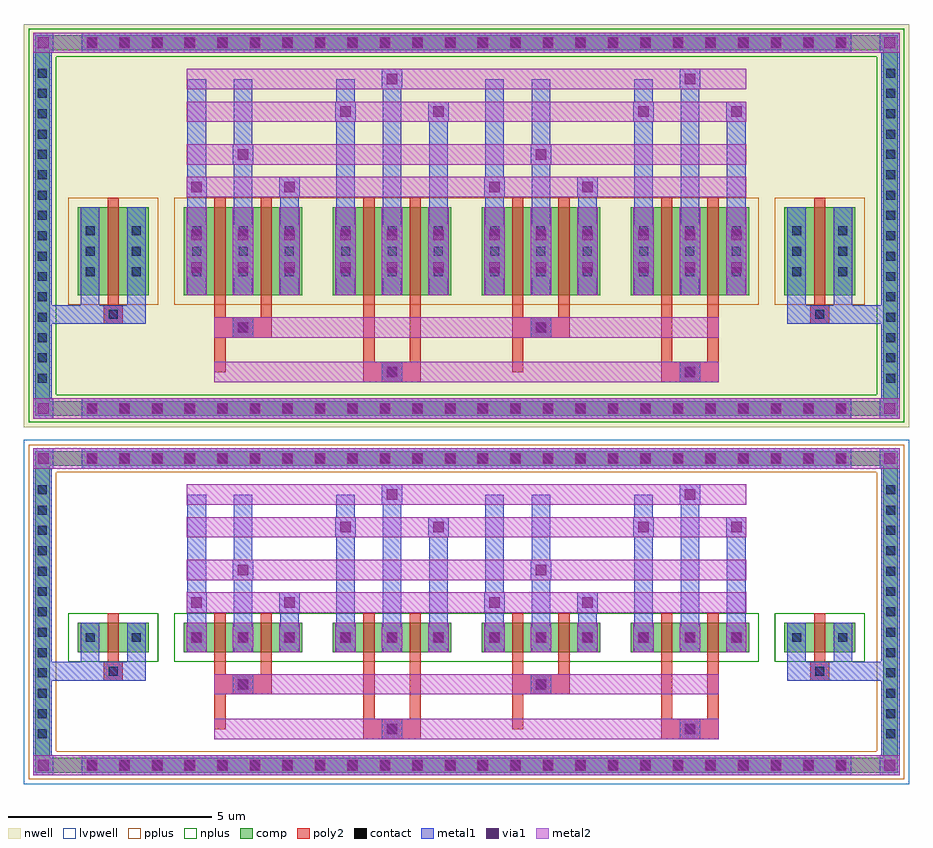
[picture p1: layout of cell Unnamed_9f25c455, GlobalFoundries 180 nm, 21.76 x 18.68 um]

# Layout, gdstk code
import gdstk
lib = gdstk.Library(unit=1e-6, precision=5e-09)
def R(c, l, rs):  # rectangles x0, y0, x1, y1
    for r in rs: c.add(gdstk.rectangle(r[:2], r[2:], *l))
def A(c, l, x, y, w, h, nx, ny, dx, dy):  # array of equal rectangles
    R(c, l, [(x+i*dx, y+j*dy, x+i*dx+w, y+j*dy+h) for i in range(nx) for j in range(ny)])
def P(c, l, *ps):  # polygons
    for p in ps: c.add(gdstk.Polygon(p, *l))
nwell = (21, 0)
comp = (22, 0)
poly2 = (30, 0)
pplus = (31, 0)
nplus = (32, 0)
contact = (33, 0)
metal1 = (34, 0)
via1 = (35, 0)
metal2 = (36, 0)
lvpwell = (204, 0)

unnamed_d9a860c2_1 = lib.new_cell('Unnamed_d9a860c2$1')
A(unnamed_d9a860c2_1, comp, -9.38, -4.675, 0.36, 0.36, 24, 2, 0.8, 8.99)
A(unnamed_d9a860c2_1, comp, -10.6, -3.93, 0.36, 0.36, 1, 16, 0, 0.5)
A(unnamed_d9a860c2_1, comp, 10.24, -3.93, 0.36, 0.36, 1, 16, 0, 0.5)
R(unnamed_d9a860c2_1, comp, [(-9.38,-4.675,9.38,-4.315), (-10.6,-3.93,-10.24,3.93), (10.24,-3.93,10.6,3.93), (-9.38,4.315,9.38,4.675)])
P(unnamed_d9a860c2_1, comp, [(-10.6,-4.675),(-10.6,-4.315),(-10.24,-4.315),(10.24,-4.315),(10.24,4.315),(-10.24,4.315),(-10.24,-4.315),(-10.6,-4.315),(-10.6,4.675),(10.6,4.675),(10.6,-4.675)])
P(unnamed_d9a860c2_1, nplus, [(-10.76,-4.835),(-10.76,-4.155),(-10.08,-4.155),(10.08,-4.155),(10.08,4.155),(-10.08,4.155),(-10.08,-4.155),(-10.76,-4.155),(-10.76,4.835),(10.76,4.835),(10.76,-4.835)])
A(unnamed_d9a860c2_1, contact, -9.31, -4.605, 0.22, 0.22, 24, 2, 0.8, 8.99)
A(unnamed_d9a860c2_1, contact, -10.53, -3.86, 0.22, 0.22, 1, 16, 0, 0.5)
A(unnamed_d9a860c2_1, contact, 10.31, -3.86, 0.22, 0.22, 1, 16, 0, 0.5)
A(unnamed_d9a860c2_1, metal1, -9.45, -4.745, 0.5, 0.5, 24, 2, 0.8, 8.99)
A(unnamed_d9a860c2_1, metal1, -10.65, -3.98, 0.46, 0.46, 1, 16, 0, 0.5)
A(unnamed_d9a860c2_1, metal1, 10.19, -3.98, 0.46, 0.46, 1, 16, 0, 0.5)
R(unnamed_d9a860c2_1, metal1, [(-10.65,-4.745,-10.15,-4.245), (-10.65,-4.745,-10.15,-4.245), (-10.65,-4.745,-10.19,-4.315), (-9.45,-4.745,9.45,-4.245), (10.15,-4.745,10.65,-4.245), (10.15,-4.745,10.65,-4.245), (10.19,-4.745,10.65,-4.315), (-10.65,-4.315,-10.19,4.315), (10.19,-4.315,10.65,4.315), (-10.65,4.245,-10.15,4.745), (-10.65,4.245,-10.15,4.745), (-9.45,4.245,9.45,4.745), (10.15,4.245,10.65,4.745), (10.15,4.245,10.65,4.745), (-10.65,4.315,-10.19,4.745), (10.19,4.315,10.65,4.745)])
A(unnamed_d9a860c2_1, via1, -9.33, -4.625, 0.26, 0.26, 24, 2, 0.8, 8.99)
R(unnamed_d9a860c2_1, via1, [(-10.53,-4.625,-10.27,-4.365), (10.27,-4.625,10.53,-4.365), (-10.53,4.365,-10.27,4.625), (10.27,4.365,10.53,4.625)])
A(unnamed_d9a860c2_1, metal2, -9.45, -4.745, 0.5, 0.5, 24, 2, 0.8, 8.99)
R(unnamed_d9a860c2_1, metal2, [(-10.65,-4.745,-10.24,-4.245), (-10.65,-4.745,-10.15,-4.245), (-10.65,-4.745,-10.15,-4.245), (-10.24,-4.745,10.24,-4.245), (10.15,-4.745,10.65,-4.245), (10.15,-4.745,10.65,-4.245), (10.24,-4.745,10.65,-4.245), (-10.65,4.245,-10.24,4.745), (-10.65,4.245,-10.15,4.745), (-10.65,4.245,-10.15,4.745), (-10.24,4.245,10.24,4.745), (10.15,4.245,10.65,4.745), (10.15,4.245,10.65,4.745), (10.24,4.245,10.65,4.745)])

straight_route_f6baf9e0 = lib.new_cell('straight_route_f6baf9e0')
R(straight_route_f6baf9e0, metal1, [(-10.65,-2.41,-8.91,-1.95)])

straight_route_4114f817 = lib.new_cell('straight_route_4114f817')
R(straight_route_4114f817, metal1, [(8.91,-2.41,10.65,-1.95)])

transformed_3f8b8bb3 = lib.new_cell('transformed_3f8b8bb3')
R(transformed_3f8b8bb3, nwell, [(-10.88,-4.955,10.88,4.955)])
A(transformed_3f8b8bb3, comp, -6.95, -1.71, 2.92, 2.16, 4, 1, 3.66, 0)
R(transformed_3f8b8bb3, comp, [(-9.55,-1.71,-7.81,0.45), (7.81,-1.71,9.55,0.45)])
R(transformed_3f8b8bb3, poly2, [(-2.54,-3.85,-1.12,-3.35), (4.78,-3.85,6.2,-3.35), (-2.01,-3.78,-1.65,-3.42), (5.31,-3.78,5.67,-3.42), (-6.2,-3.6,-5.92,-1.95), (1.12,-3.6,1.4,-1.95), (-2.54,-3.35,-2.26,-1.95), (-1.4,-3.35,-1.12,-1.95), (4.78,-3.35,5.06,-1.95), (5.92,-3.35,6.2,-1.95), (-6.2,-2.75,-4.78,-2.25), (1.12,-2.75,2.54,-2.25), (-5.67,-2.68,-5.31,-2.32), (1.65,-2.68,2.01,-2.32), (-8.91,-2.41,-8.45,-1.95), (8.45,-2.41,8.91,-1.95), (-8.86,-2.36,-8.5,-2), (8.5,-2.36,8.86,-2), (-6.2,-2.25,-5.92,-1.95), (-5.06,-2.25,-4.78,-1.95), (1.12,-2.25,1.4,-1.95), (2.26,-2.25,2.54,-1.95), (-8.82,-1.95,-8.54,0.69), (-6.2,-1.95,-5.92,0.69), (-5.06,-1.95,-4.78,0.69), (-2.54,-1.95,-2.26,0.69), (-1.4,-1.95,-1.12,0.69), (1.12,-1.95,1.4,0.69), (2.26,-1.95,2.54,0.69), (4.78,-1.95,5.06,0.69), (5.92,-1.95,6.2,0.69), (8.54,-1.95,8.82,0.69)])
A(transformed_3f8b8bb3, pplus, -7.18, -1.94, 3.38, 2.62, 4, 1, 3.66, 0)
R(transformed_3f8b8bb3, pplus, [(-9.78,-1.94,-7.58,0.68), (-7.18,-1.94,7.18,0.68), (7.58,-1.94,9.78,0.68)])
A(transformed_3f8b8bb3, contact, -9.36, -1.24, 0.22, 0.22, 1, 3, 0, 0.5)
A(transformed_3f8b8bb3, contact, -8.22, -1.24, 0.22, 0.22, 1, 3, 0, 0.5)
A(transformed_3f8b8bb3, contact, -6.74, -1.24, 0.22, 0.22, 3, 3, 1.14, 0.5)
A(transformed_3f8b8bb3, contact, -3.08, -1.24, 0.22, 0.22, 3, 3, 1.14, 0.5)
A(transformed_3f8b8bb3, contact, 0.58, -1.24, 0.22, 0.22, 3, 3, 1.14, 0.5)
A(transformed_3f8b8bb3, contact, 4.24, -1.24, 0.22, 0.22, 3, 3, 1.14, 0.5)
A(transformed_3f8b8bb3, contact, 8, -1.24, 0.22, 0.22, 1, 3, 0, 0.5)
A(transformed_3f8b8bb3, contact, 9.14, -1.24, 0.22, 0.22, 1, 3, 0, 0.5)
R(transformed_3f8b8bb3, contact, [(-1.94,-3.71,-1.72,-3.49), (5.38,-3.71,5.6,-3.49), (-5.6,-2.61,-5.38,-2.39), (1.72,-2.61,1.94,-2.39), (-8.79,-2.29,-8.57,-2.07), (8.57,-2.29,8.79,-2.07)])
A(transformed_3f8b8bb3, metal1, -6.86, -1.71, 0.46, 2.16, 3, 1, 1.14, 0)
A(transformed_3f8b8bb3, metal1, -3.2, -1.71, 0.46, 2.16, 3, 1, 1.14, 0)
A(transformed_3f8b8bb3, metal1, 0.46, -1.71, 0.46, 2.16, 3, 1, 1.14, 0)
A(transformed_3f8b8bb3, metal1, 4.12, -1.71, 0.46, 2.16, 3, 1, 1.14, 0)
A(transformed_3f8b8bb3, metal1, -9.48, -1.36, 0.46, 0.46, 1, 3, 0, 0.5)
A(transformed_3f8b8bb3, metal1, -8.34, -1.36, 0.46, 0.46, 1, 3, 0, 0.5)
A(transformed_3f8b8bb3, metal1, -6.86, -1.36, 0.46, 0.46, 3, 3, 1.14, 0.5)
A(transformed_3f8b8bb3, metal1, -3.2, -1.36, 0.46, 0.46, 3, 3, 1.14, 0.5)
A(transformed_3f8b8bb3, metal1, 0.46, -1.36, 0.46, 0.46, 3, 3, 1.14, 0.5)
A(transformed_3f8b8bb3, metal1, 4.12, -1.36, 0.46, 0.46, 3, 3, 1.14, 0.5)
A(transformed_3f8b8bb3, metal1, 7.88, -1.36, 0.46, 0.46, 1, 3, 0, 0.5)
A(transformed_3f8b8bb3, metal1, 9.02, -1.36, 0.46, 0.46, 1, 3, 0, 0.5)
A(transformed_3f8b8bb3, metal1, -6.88, -1.28, 0.5, 0.5, 3, 2, 1.14, 0.8)
A(transformed_3f8b8bb3, metal1, -6.88, -1.28, 0.5, 1.3, 3, 1, 1.14, 0)
A(transformed_3f8b8bb3, metal1, -3.22, -1.28, 0.5, 0.5, 3, 2, 1.14, 0.8)
A(transformed_3f8b8bb3, metal1, -3.22, -1.28, 0.5, 1.3, 3, 1, 1.14, 0)
A(transformed_3f8b8bb3, metal1, 0.44, -1.28, 0.5, 0.5, 3, 2, 1.14, 0.8)
A(transformed_3f8b8bb3, metal1, 0.44, -1.28, 0.5, 1.3, 3, 1, 1.14, 0)
A(transformed_3f8b8bb3, metal1, 4.1, -1.28, 0.5, 0.5, 3, 2, 1.14, 0.8)
A(transformed_3f8b8bb3, metal1, 4.1, -1.28, 0.5, 1.3, 3, 1, 1.14, 0)
R(transformed_3f8b8bb3, metal1, [(-2.08,-3.85,-1.58,-3.35), (5.24,-3.85,5.74,-3.35), (-5.74,-2.75,-5.24,-2.25), (1.58,-2.75,2.08,-2.25), (-9.48,-2.41,-9.02,-1.71), (-9.48,-2.41,-8.91,-1.95), (-8.91,-2.41,-8.45,-1.95), (-8.45,-2.41,-7.88,-1.95), (-8.34,-2.41,-7.88,-1.71), (7.88,-2.41,8.34,-1.71), (7.88,-2.41,8.45,-1.95), (8.45,-2.41,8.91,-1.95), (8.91,-2.41,9.48,-1.95), (9.02,-2.41,9.48,-1.71), (-9.48,-1.71,-9.02,0.45), (-8.34,-1.71,-7.88,0.45), (7.88,-1.71,8.34,0.45), (9.02,-1.71,9.48,0.45), (-6.86,0.45,-6.4,1.2), (-6.86,0.45,-6.4,3.6), (-5.72,0.45,-5.26,2), (-5.72,0.45,-5.26,3.6), (-4.58,0.45,-4.12,1.2), (-3.2,0.45,-2.74,3.05), (-3.2,0.45,-2.74,3.6), (-2.06,0.45,-1.6,3.85), (-2.06,0.45,-1.6,3.6), (-0.92,0.45,-0.46,3.05), (0.46,0.45,0.92,1.2), (0.46,0.45,0.92,3.6), (1.6,0.45,2.06,2), (1.6,0.45,2.06,3.6), (2.74,0.45,3.2,1.2), (4.12,0.45,4.58,3.05), (4.12,0.45,4.58,3.6), (5.26,0.45,5.72,3.85), (5.26,0.45,5.72,3.6), (6.4,0.45,6.86,3.05), (-6.88,0.7,-6.38,1.2), (-4.6,0.7,-4.1,1.2), (0.44,0.7,0.94,1.2), (2.72,0.7,3.22,1.2), (-5.74,1.5,-5.24,2), (1.58,1.5,2.08,2), (-3.22,2.55,-2.72,3.05), (-0.94,2.55,-0.44,3.05), (4.1,2.55,4.6,3.05), (6.38,2.55,6.88,3.05), (-2.08,3.35,-1.58,3.85), (5.24,3.35,5.74,3.85)])
A(transformed_3f8b8bb3, via1, -6.76, -1.16, 0.26, 0.26, 3, 2, 1.14, 0.8)
A(transformed_3f8b8bb3, via1, -3.1, -1.16, 0.26, 0.26, 3, 2, 1.14, 0.8)
A(transformed_3f8b8bb3, via1, 0.56, -1.16, 0.26, 0.26, 3, 2, 1.14, 0.8)
A(transformed_3f8b8bb3, via1, 4.22, -1.16, 0.26, 0.26, 3, 2, 1.14, 0.8)
R(transformed_3f8b8bb3, via1, [(-1.96,-3.73,-1.7,-3.47), (5.36,-3.73,5.62,-3.47), (-5.62,-2.63,-5.36,-2.37), (1.7,-2.63,1.96,-2.37), (-6.76,0.82,-6.5,1.08), (-4.48,0.82,-4.22,1.08), (0.56,0.82,0.82,1.08), (2.84,0.82,3.1,1.08), (-5.62,1.62,-5.36,1.88), (1.7,1.62,1.96,1.88), (-3.1,2.67,-2.84,2.93), (-0.82,2.67,-0.56,2.93), (4.22,2.67,4.48,2.93), (6.5,2.67,6.76,2.93), (-1.96,3.47,-1.7,3.73), (5.36,3.47,5.62,3.73)])
A(transformed_3f8b8bb3, metal2, -6.88, -1.71, 0.5, 2.16, 3, 1, 1.14, 0)
A(transformed_3f8b8bb3, metal2, -3.22, -1.71, 0.5, 2.16, 3, 1, 1.14, 0)
A(transformed_3f8b8bb3, metal2, 0.44, -1.71, 0.5, 2.16, 3, 1, 1.14, 0)
A(transformed_3f8b8bb3, metal2, 4.1, -1.71, 0.5, 2.16, 3, 1, 1.14, 0)
A(transformed_3f8b8bb3, metal2, -6.88, -1.28, 0.5, 0.5, 3, 2, 1.14, 0.8)
A(transformed_3f8b8bb3, metal2, -3.22, -1.28, 0.5, 0.5, 3, 2, 1.14, 0.8)
A(transformed_3f8b8bb3, metal2, 0.44, -1.28, 0.5, 0.5, 3, 2, 1.14, 0.8)
A(transformed_3f8b8bb3, metal2, 4.1, -1.28, 0.5, 0.5, 3, 2, 1.14, 0.8)
R(transformed_3f8b8bb3, metal2, [(-6.2,-3.85,6.2,-3.35), (-2.54,-3.85,-1.12,-3.35), (-2.08,-3.85,-1.58,-3.35), (4.78,-3.85,6.2,-3.35), (5.24,-3.85,5.74,-3.35), (-6.2,-2.75,-4.78,-2.25), (-6.2,-2.75,6.2,-2.25), (-5.74,-2.75,-5.24,-2.25), (1.12,-2.75,2.54,-2.25), (1.58,-2.75,2.08,-2.25), (-6.88,0.7,-6.38,1.2), (-6.88,0.7,-4.1,1.2), (-6.88,0.7,6.88,1.2), (-4.6,0.7,-4.1,1.2), (0.44,0.7,0.94,1.2), (0.44,0.7,3.22,1.2), (2.72,0.7,3.22,1.2), (-6.88,1.5,-4.1,2), (-6.88,1.5,6.88,2), (-5.74,1.5,-5.24,2), (0.44,1.5,3.22,2), (1.58,1.5,2.08,2), (-6.88,2.55,6.88,3.05), (-3.22,2.55,-2.72,3.05), (-3.22,2.55,-0.44,3.05), (-0.94,2.55,-0.44,3.05), (4.1,2.55,4.6,3.05), (4.1,2.55,6.88,3.05), (6.38,2.55,6.88,3.05), (-6.88,3.35,6.88,3.85), (-3.22,3.35,-0.44,3.85), (-2.08,3.35,-1.58,3.85), (4.1,3.35,6.88,3.85), (5.24,3.35,5.74,3.85)])
transformed_3f8b8bb3.add(gdstk.Reference(unnamed_d9a860c2_1, (0,0)))
transformed_3f8b8bb3.add(gdstk.Reference(straight_route_f6baf9e0, (0,0)))
transformed_3f8b8bb3.add(gdstk.Reference(straight_route_4114f817, (0,0)))

unnamed_969175d1_1 = lib.new_cell('Unnamed_969175d1$1')
A(unnamed_969175d1_1, comp, -9.38, -3.95, 0.36, 0.36, 24, 2, 0.8, 7.54)
A(unnamed_969175d1_1, comp, -10.6, -3.18, 0.36, 0.36, 1, 13, 0, 0.5)
A(unnamed_969175d1_1, comp, 10.24, -3.18, 0.36, 0.36, 1, 13, 0, 0.5)
R(unnamed_969175d1_1, comp, [(-9.38,-3.95,9.38,-3.59), (-10.6,-3.18,-10.24,3.18), (10.24,-3.18,10.6,3.18), (-9.38,3.59,9.38,3.95)])
P(unnamed_969175d1_1, comp, [(-10.6,-3.95),(-10.6,-3.59),(-10.24,-3.59),(10.24,-3.59),(10.24,3.59),(-10.24,3.59),(-10.24,-3.59),(-10.6,-3.59),(-10.6,3.95),(10.6,3.95),(10.6,-3.95)])
P(unnamed_969175d1_1, pplus, [(-10.76,-4.11),(-10.76,-3.43),(-10.08,-3.43),(10.08,-3.43),(10.08,3.43),(-10.08,3.43),(-10.08,-3.43),(-10.76,-3.43),(-10.76,4.11),(10.76,4.11),(10.76,-4.11)])
A(unnamed_969175d1_1, contact, -9.31, -3.88, 0.22, 0.22, 24, 2, 0.8, 7.54)
A(unnamed_969175d1_1, contact, -10.53, -3.11, 0.22, 0.22, 1, 13, 0, 0.5)
A(unnamed_969175d1_1, contact, 10.31, -3.11, 0.22, 0.22, 1, 13, 0, 0.5)
A(unnamed_969175d1_1, metal1, -9.45, -4.02, 0.5, 0.5, 24, 2, 0.8, 7.54)
A(unnamed_969175d1_1, metal1, -10.65, -3.23, 0.46, 0.46, 1, 13, 0, 0.5)
A(unnamed_969175d1_1, metal1, 10.19, -3.23, 0.46, 0.46, 1, 13, 0, 0.5)
R(unnamed_969175d1_1, metal1, [(-10.65,-4.02,-10.15,-3.52), (-10.65,-4.02,-10.15,-3.52), (-10.65,-4.02,-10.19,-3.59), (-9.45,-4.02,9.45,-3.52), (10.15,-4.02,10.65,-3.52), (10.15,-4.02,10.65,-3.52), (10.19,-4.02,10.65,-3.59), (-10.65,-3.59,-10.19,3.59), (10.19,-3.59,10.65,3.59), (-10.65,3.52,-10.15,4.02), (-10.65,3.52,-10.15,4.02), (-9.45,3.52,9.45,4.02), (10.15,3.52,10.65,4.02), (10.15,3.52,10.65,4.02), (-10.65,3.59,-10.19,4.02), (10.19,3.59,10.65,4.02)])
A(unnamed_969175d1_1, via1, -9.33, -3.9, 0.26, 0.26, 24, 2, 0.8, 7.54)
R(unnamed_969175d1_1, via1, [(-10.53,-3.9,-10.27,-3.64), (10.27,-3.9,10.53,-3.64), (-10.53,3.64,-10.27,3.9), (10.27,3.64,10.53,3.9)])
A(unnamed_969175d1_1, metal2, -9.45, -4.02, 0.5, 0.5, 24, 2, 0.8, 7.54)
R(unnamed_969175d1_1, metal2, [(-10.65,-4.02,-10.24,-3.52), (-10.65,-4.02,-10.15,-3.52), (-10.65,-4.02,-10.15,-3.52), (-10.24,-4.02,10.24,-3.52), (10.15,-4.02,10.65,-3.52), (10.15,-4.02,10.65,-3.52), (10.24,-4.02,10.65,-3.52), (-10.65,3.52,-10.24,4.02), (-10.65,3.52,-10.15,4.02), (-10.65,3.52,-10.15,4.02), (-10.24,3.52,10.24,4.02), (10.15,3.52,10.65,4.02), (10.15,3.52,10.65,4.02), (10.24,3.52,10.65,4.02)])

straight_route_c5333817 = lib.new_cell('straight_route_c5333817')
R(straight_route_c5333817, metal1, [(-10.65,-1.69,-8.91,-1.23)])

straight_route_80d1add8 = lib.new_cell('straight_route_80d1add8')
R(straight_route_80d1add8, metal1, [(8.91,-1.69,10.65,-1.23)])

transformed_8a02f7af = lib.new_cell('transformed_8a02f7af')
A(transformed_8a02f7af, comp, -6.95, -0.99, 2.92, 0.72, 4, 1, 3.66, 0)
R(transformed_8a02f7af, comp, [(-9.55,-0.99,-7.81,-0.27), (7.81,-0.99,9.55,-0.27)])
R(transformed_8a02f7af, poly2, [(-2.54,-3.13,-1.12,-2.63), (4.78,-3.13,6.2,-2.63), (-2.01,-3.06,-1.65,-2.7), (5.31,-3.06,5.67,-2.7), (-6.2,-2.88,-5.92,-1.23), (1.12,-2.88,1.4,-1.23), (-2.54,-2.63,-2.26,-1.23), (-1.4,-2.63,-1.12,-1.23), (4.78,-2.63,5.06,-1.23), (5.92,-2.63,6.2,-1.23), (-6.2,-2.03,-4.78,-1.53), (1.12,-2.03,2.54,-1.53), (-5.67,-1.96,-5.31,-1.6), (1.65,-1.96,2.01,-1.6), (-8.91,-1.69,-8.45,-1.23), (8.45,-1.69,8.91,-1.23), (-8.86,-1.64,-8.5,-1.28), (8.5,-1.64,8.86,-1.28), (-6.2,-1.53,-5.92,-1.23), (-5.06,-1.53,-4.78,-1.23), (1.12,-1.53,1.4,-1.23), (2.26,-1.53,2.54,-1.23), (-8.82,-1.23,-8.54,-0.03), (-6.2,-1.23,-5.92,-0.03), (-5.06,-1.23,-4.78,-0.03), (-2.54,-1.23,-2.26,-0.03), (-1.4,-1.23,-1.12,-0.03), (1.12,-1.23,1.4,-0.03), (2.26,-1.23,2.54,-0.03), (4.78,-1.23,5.06,-0.03), (5.92,-1.23,6.2,-0.03), (8.54,-1.23,8.82,-0.03)])
A(transformed_8a02f7af, nplus, -7.18, -1.22, 3.38, 1.18, 4, 1, 3.66, 0)
R(transformed_8a02f7af, nplus, [(-9.78,-1.22,-7.58,-0.04), (-7.18,-1.22,7.18,-0.04), (7.58,-1.22,9.78,-0.04)])
A(transformed_8a02f7af, contact, -6.74, -0.74, 0.22, 0.22, 3, 1, 1.14, 0)
A(transformed_8a02f7af, contact, -3.08, -0.74, 0.22, 0.22, 3, 1, 1.14, 0)
A(transformed_8a02f7af, contact, 0.58, -0.74, 0.22, 0.22, 3, 1, 1.14, 0)
A(transformed_8a02f7af, contact, 4.24, -0.74, 0.22, 0.22, 3, 1, 1.14, 0)
R(transformed_8a02f7af, contact, [(-1.94,-2.99,-1.72,-2.77), (5.38,-2.99,5.6,-2.77), (-5.6,-1.89,-5.38,-1.67), (1.72,-1.89,1.94,-1.67), (-8.79,-1.57,-8.57,-1.35), (8.57,-1.57,8.79,-1.35), (-9.36,-0.74,-9.14,-0.52), (-8.22,-0.74,-8,-0.52), (8,-0.74,8.22,-0.52), (9.14,-0.74,9.36,-0.52)])
A(transformed_8a02f7af, metal1, -6.86, -0.99, 0.46, 0.72, 3, 1, 1.14, 0)
A(transformed_8a02f7af, metal1, -3.2, -0.99, 0.46, 0.72, 3, 1, 1.14, 0)
A(transformed_8a02f7af, metal1, 0.46, -0.99, 0.46, 0.72, 3, 1, 1.14, 0)
A(transformed_8a02f7af, metal1, 4.12, -0.99, 0.46, 0.72, 3, 1, 1.14, 0)
A(transformed_8a02f7af, metal1, -6.86, -0.86, 0.46, 0.46, 3, 1, 1.14, 0)
A(transformed_8a02f7af, metal1, -3.2, -0.86, 0.46, 0.46, 3, 1, 1.14, 0)
A(transformed_8a02f7af, metal1, 0.46, -0.86, 0.46, 0.46, 3, 1, 1.14, 0)
A(transformed_8a02f7af, metal1, 4.12, -0.86, 0.46, 0.46, 3, 1, 1.14, 0)
R(transformed_8a02f7af, metal1, [(-2.08,-3.13,-1.58,-2.63), (5.24,-3.13,5.74,-2.63), (-5.74,-2.03,-5.24,-1.53), (1.58,-2.03,2.08,-1.53), (-9.48,-1.69,-8.91,-1.23), (-9.48,-1.69,-9.02,-0.99), (-8.91,-1.69,-8.45,-1.23), (-8.45,-1.69,-7.88,-1.23), (-8.34,-1.69,-7.88,-0.99), (7.88,-1.69,8.45,-1.23), (7.88,-1.69,8.34,-0.99), (8.45,-1.69,8.91,-1.23), (8.91,-1.69,9.48,-1.23), (9.02,-1.69,9.48,-0.99), (-9.48,-0.99,-9.02,-0.27), (-8.34,-0.99,-7.88,-0.27), (7.88,-0.99,8.34,-0.27), (9.02,-0.99,9.48,-0.27), (-6.88,-0.88,-6.38,-0.38), (-6.88,-0.88,-6.38,-0.38), (-5.74,-0.88,-5.24,-0.38), (-5.74,-0.88,-5.24,-0.38), (-4.6,-0.88,-4.1,-0.38), (-4.6,-0.88,-4.1,-0.38), (-3.22,-0.88,-2.72,-0.38), (-3.22,-0.88,-2.72,-0.38), (-2.08,-0.88,-1.58,-0.38), (-2.08,-0.88,-1.58,-0.38), (-0.94,-0.88,-0.44,-0.38), (-0.94,-0.88,-0.44,-0.38), (0.44,-0.88,0.94,-0.38), (0.44,-0.88,0.94,-0.38), (1.58,-0.88,2.08,-0.38), (1.58,-0.88,2.08,-0.38), (2.72,-0.88,3.22,-0.38), (2.72,-0.88,3.22,-0.38), (4.1,-0.88,4.6,-0.38), (4.1,-0.88,4.6,-0.38), (5.24,-0.88,5.74,-0.38), (5.24,-0.88,5.74,-0.38), (6.38,-0.88,6.88,-0.38), (6.38,-0.88,6.88,-0.38), (-9.48,-0.86,-9.02,-0.4), (-8.34,-0.86,-7.88,-0.4), (7.88,-0.86,8.34,-0.4), (9.02,-0.86,9.48,-0.4), (-6.86,-0.27,-6.4,0.48), (-6.86,-0.27,-6.4,2.88), (-5.72,-0.27,-5.26,1.28), (-5.72,-0.27,-5.26,2.88), (-4.58,-0.27,-4.12,0.48), (-3.2,-0.27,-2.74,2.33), (-3.2,-0.27,-2.74,2.88), (-2.06,-0.27,-1.6,3.13), (-2.06,-0.27,-1.6,2.88), (-0.92,-0.27,-0.46,2.33), (0.46,-0.27,0.92,0.48), (0.46,-0.27,0.92,2.88), (1.6,-0.27,2.06,1.28), (1.6,-0.27,2.06,2.88), (2.74,-0.27,3.2,0.48), (4.12,-0.27,4.58,2.33), (4.12,-0.27,4.58,2.88), (5.26,-0.27,5.72,3.13), (5.26,-0.27,5.72,2.88), (6.4,-0.27,6.86,2.33), (-6.88,-0.02,-6.38,0.48), (-4.6,-0.02,-4.1,0.48), (0.44,-0.02,0.94,0.48), (2.72,-0.02,3.22,0.48), (-5.74,0.78,-5.24,1.28), (1.58,0.78,2.08,1.28), (-3.22,1.83,-2.72,2.33), (-0.94,1.83,-0.44,2.33), (4.1,1.83,4.6,2.33), (6.38,1.83,6.88,2.33), (-2.08,2.63,-1.58,3.13), (5.24,2.63,5.74,3.13)])
A(transformed_8a02f7af, via1, -6.76, -0.76, 0.26, 0.26, 3, 1, 1.14, 0)
A(transformed_8a02f7af, via1, -3.1, -0.76, 0.26, 0.26, 3, 1, 1.14, 0)
A(transformed_8a02f7af, via1, 0.56, -0.76, 0.26, 0.26, 3, 1, 1.14, 0)
A(transformed_8a02f7af, via1, 4.22, -0.76, 0.26, 0.26, 3, 1, 1.14, 0)
R(transformed_8a02f7af, via1, [(-1.96,-3.01,-1.7,-2.75), (5.36,-3.01,5.62,-2.75), (-5.62,-1.91,-5.36,-1.65), (1.7,-1.91,1.96,-1.65), (-6.76,0.1,-6.5,0.36), (-4.48,0.1,-4.22,0.36), (0.56,0.1,0.82,0.36), (2.84,0.1,3.1,0.36), (-5.62,0.9,-5.36,1.16), (1.7,0.9,1.96,1.16), (-3.1,1.95,-2.84,2.21), (-0.82,1.95,-0.56,2.21), (4.22,1.95,4.48,2.21), (6.5,1.95,6.76,2.21), (-1.96,2.75,-1.7,3.01), (5.36,2.75,5.62,3.01)])
A(transformed_8a02f7af, metal2, -6.88, -0.99, 0.5, 0.72, 3, 1, 1.14, 0)
A(transformed_8a02f7af, metal2, -3.22, -0.99, 0.5, 0.72, 3, 1, 1.14, 0)
A(transformed_8a02f7af, metal2, 0.44, -0.99, 0.5, 0.72, 3, 1, 1.14, 0)
A(transformed_8a02f7af, metal2, 4.1, -0.99, 0.5, 0.72, 3, 1, 1.14, 0)
A(transformed_8a02f7af, metal2, -6.88, -0.88, 0.5, 0.5, 3, 1, 1.14, 0)
A(transformed_8a02f7af, metal2, -3.22, -0.88, 0.5, 0.5, 3, 1, 1.14, 0)
A(transformed_8a02f7af, metal2, 0.44, -0.88, 0.5, 0.5, 3, 1, 1.14, 0)
A(transformed_8a02f7af, metal2, 4.1, -0.88, 0.5, 0.5, 3, 1, 1.14, 0)
R(transformed_8a02f7af, metal2, [(-6.2,-3.13,6.2,-2.63), (-2.54,-3.13,-1.12,-2.63), (-2.08,-3.13,-1.58,-2.63), (4.78,-3.13,6.2,-2.63), (5.24,-3.13,5.74,-2.63), (-6.2,-2.03,-4.78,-1.53), (-6.2,-2.03,6.2,-1.53), (-5.74,-2.03,-5.24,-1.53), (1.12,-2.03,2.54,-1.53), (1.58,-2.03,2.08,-1.53), (-6.88,-0.02,-6.38,0.48), (-6.88,-0.02,-4.1,0.48), (-6.88,-0.02,6.88,0.48), (-4.6,-0.02,-4.1,0.48), (0.44,-0.02,0.94,0.48), (0.44,-0.02,3.22,0.48), (2.72,-0.02,3.22,0.48), (-6.88,0.78,-4.1,1.28), (-6.88,0.78,6.88,1.28), (-5.74,0.78,-5.24,1.28), (0.44,0.78,3.22,1.28), (1.58,0.78,2.08,1.28), (-6.88,1.83,6.88,2.33), (-3.22,1.83,-2.72,2.33), (-3.22,1.83,-0.44,2.33), (-0.94,1.83,-0.44,2.33), (4.1,1.83,4.6,2.33), (4.1,1.83,6.88,2.33), (6.38,1.83,6.88,2.33), (-6.88,2.63,6.88,3.13), (-3.22,2.63,-0.44,3.13), (-2.08,2.63,-1.58,3.13), (4.1,2.63,6.88,3.13), (5.24,2.63,5.74,3.13)])
R(transformed_8a02f7af, lvpwell, [(-10.88,-4.23,10.88,4.23)])
transformed_8a02f7af.add(gdstk.Reference(unnamed_969175d1_1, (0,0)))
transformed_8a02f7af.add(gdstk.Reference(straight_route_c5333817, (0,0)))
transformed_8a02f7af.add(gdstk.Reference(straight_route_80d1add8, (0,0)))

unnamed_9f25c455 = lib.new_cell('Unnamed_9f25c455')
unnamed_9f25c455.add(gdstk.Reference(transformed_3f8b8bb3, (0,9.49)))
unnamed_9f25c455.add(gdstk.Reference(transformed_8a02f7af, (0,0)))

lib.write_gds('Unnamed_9f25c455.gds')
